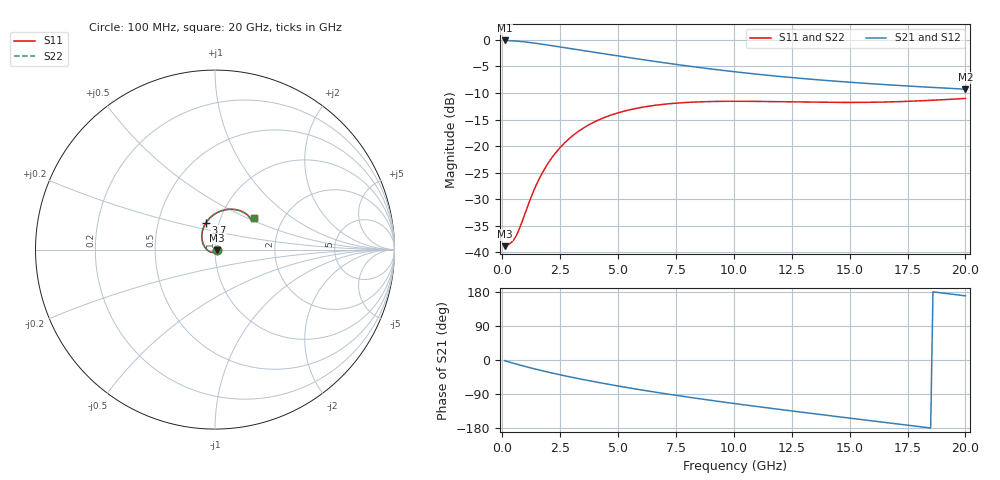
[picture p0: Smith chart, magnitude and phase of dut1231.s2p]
! Touchstone file exported from HFSS 2024.1.0
!  File:  C:/UserFiles/LocalFiles/RDL_TSV_Batchsim/temp_RDL_TSV_1231_1780264722.aedt
!  Generated:  06:11:34 AM Jun  1, 2026
!  Design:  RDL_TSV
!  Project:  temp_RDL_TSV_1231_1780264722
!  Setup:  Setup1
!  Solution:  Sweep
! Variables:
!  dtsv = 10.23um
!  hbump = 3um
!  htsv = 99.9um
!  ldown = 511.97um
!  lrdl = 211.7um
!  p = 40
!  p1 = 51.07um
!  rhole = 10um
!  subl = 2382.71um
!  t = 450um
!  tdown = 3.5um
!  trdl = 4.38um
!  viad = 10um
!  wdown = 24.11um
!  wrdl = 16.94um
!  xbump = 18um
# GHz S MA R 50.000000
! Terminal data exported
! Port[1] = TM1_1_T1
! Port[2] = TM1_4_T1
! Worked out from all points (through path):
!   200 points, 100 MHz to 20 GHz, reference 50 ohm
!   highest |S21| = -0.10 dB at 100 MHz (marker M1); lowest = -9.3 dB at 20 GHz (marker M2)
!   group delay of S21, straight-line fit = 24.8 ps
!   lowest |S11| = -38.8 dB at 100 MHz (marker M3), VSWR 1.02, Z = 51.1 - j0.246 ohm
!   |S11| at or under -10 dB: start of sweep to end of sweep
!   |S22| runs from -38.8 to -11.0 dB; largest |S21 - S12| = 1.3e-14
!   S11 on the Smith chart (normalised r, x): 100 MHz: 1.02, -0.00; 3.7 GHz: 0.87, +0.26; 20 GHz: 1.44, +0.55
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0.1  0.01147 -12.1  0.9881 -1.8  0.9881 -1.8  0.01147 -12.1
! Gamma 0 0 0 0
! Port Impedance 50 0 50 0
0.4  0.01248 -55.2  0.9816 -7.1  0.9816 -7.1  0.01249 -55.2
0.6  0.01432 -87.6  0.9748 -10.6  0.9748 -10.6  0.01433 -87.5
0.8  0.01809 -117.0  0.9662 -13.9  0.9662 -13.9  0.01809 -116.9
1.2  0.03133 -158.6  0.9445 -20.4  0.9445 -20.4  0.03129 -158.5
1.4  0.04001 -173.0  0.9321 -23.5  0.9321 -23.5  0.03995 -172.9
1.7  0.0546 170.1  0.9124 -28.0  0.9124 -28.0  0.0545 170.2
2  0.07031 156.7  0.8921 -32.3  0.8921 -32.3  0.07016 156.7
2.3  0.08649 145.5  0.8717 -36.4  0.8717 -36.4  0.08629 145.5
2.7  0.108 132.9  0.8449 -41.7  0.8449 -41.7  0.1077 132.9
3.5  0.1481 113.0  0.7936 -51.6  0.7936 -51.6  0.1477 113.1
3.7  0.1572 108.9  0.7813 -54.0  0.7813 -54.0  0.1568 108.9
4.4  0.1858 96.1  0.7399 -62.0  0.7399 -62.0  0.1853 96.1
5.1  0.209 85.5  0.7011 -69.7  0.7011 -69.7  0.2084 85.5
6.8  0.2456 66.4  0.6179 -86.7  0.6179 -86.7  0.2448 66.4
8.4  0.2607 54.2  0.5538 -101.3  0.5538 -101.3  0.2599 54.2
10.1  0.2646 45.6  0.4995 -115.5  0.4995 -115.5  0.2637 45.6
11.7  0.2626 40.6  0.4592 -128.3  0.4592 -128.3  0.2617 40.6
13.4  0.2592 37.9  0.4253 -141.3  0.4253 -141.3  0.2583 38.0
15  0.258 37.2  0.3997 -153.4  0.3997 -153.4  0.2571 37.3
16.7  0.261 37.6  0.3775 -166.1  0.3775 -166.1  0.2601 37.7
20  0.2815 38.8  0.3439 169.4  0.3439 169.4  0.2808 38.9
